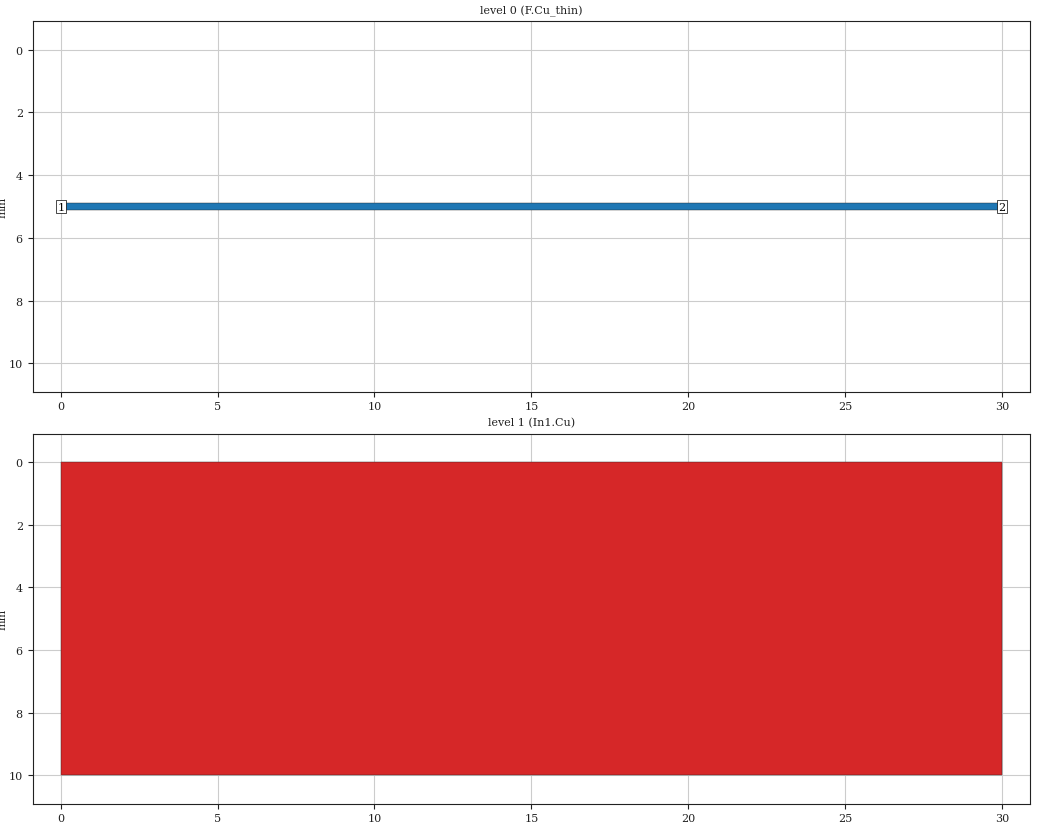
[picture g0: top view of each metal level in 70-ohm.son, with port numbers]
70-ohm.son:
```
FTYP SONPROJ 19 ! Sonnet Project File
VER 18.56
HEADER
LIC antikernel2.1.51813
DAT 11/27/2022 19:00:37
BUILT_BY_CREATED xgeom 18.56 11/27/2022 18:54:38
BUILT_BY_SAVED sonnet 18.56
MDATE 11/27/2022 19:00:37
HDATE 11/27/2022 19:00:37
END HEADER
DIM
ANG DEG
CAP PF
CON /OH
FREQ GHZ
IND NH
LNG MM
RES OH
END DIM
CONTROL
VARSWP
OPTIONS  -dj
SPEED 0
CACHE_ABS 2
Q_ACC N
END CONTROL
GEO
STF ../../sonnet-techfiles/oshpark/4l/oshpark-4l-nosoldermask.stf
SYM
TMET "Free Space" 0 FREESPACE 376.7303136 0 0 0
BMET "Free Space" 0 FREESPACE 376.7303136 0 0 0
BOX 0 30 10 2400 800 20 0
LORGN 0 10 U 
POR1 BOX
POLY 46 1
3
1 70 0 0 0 0 5 
POR1 BOX
POLY 46 1
1
2 70 0 0 0 30 5 
NUM 2
0 5 -1 N 46 1 1 100 100 0 0 0 Y
TLAYNAM F.Cu_thin INH
0 4.875
30 4.875
30 5.125
0 5.125
0 4.875
END
1 5 -1 N 79 1 1 100 100 0 0 0 Y
TLAYNAM In1.Cu INH
0 0
30 0
30 10
0 10
0 0
END
END GEO
OPT
MAX 100
END OPT
VARSWP
ENABLED Y
FREQ Y AY ABS_ENTRY 0.1 8.5 -1 300 
END
END VARSWP
```
